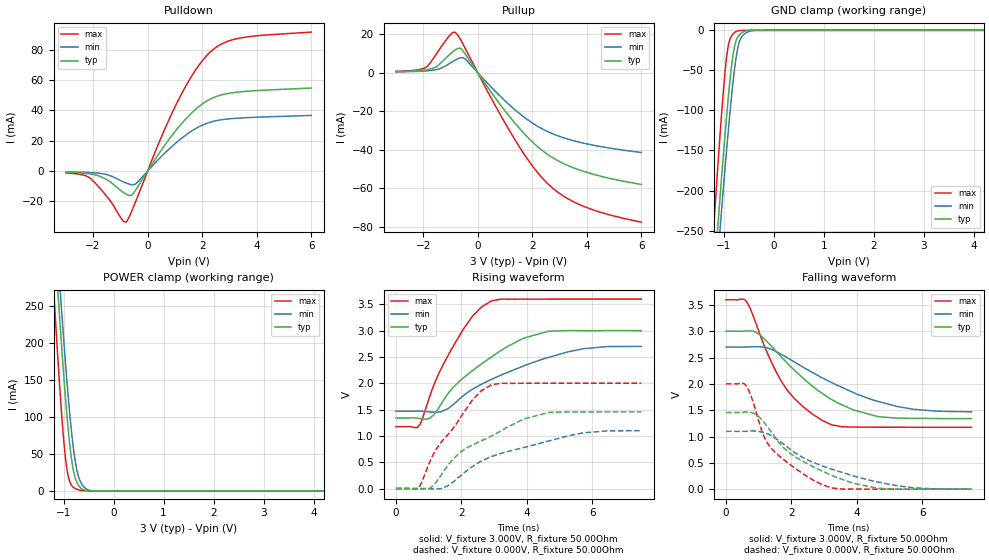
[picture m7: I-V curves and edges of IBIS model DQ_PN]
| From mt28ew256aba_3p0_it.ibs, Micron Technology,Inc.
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|   Model DQ_PN
[Model]   DQ_PN
Model_type   I/O
Vinl = 0.800V
Vinh = 2.100V
Vmeas = 1.500V
Cref = 30.000pF
|   typ   min   max
C_comp   4.086pF   3.586pF   4.586pF
[Voltage Range]   3.000V   2.700V   3.600V
| Junction Temperature (Ambient temp is 35C typ, 85C min, -40C max)
[Temperature Range]   50.0   100.0   -40.0
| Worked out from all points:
|   slope of the pulldown table from 0 to 0.45 V, typ, clamps not added: 36.2 ohm
|   slope of the pullup table from 0 to 0.45 V, typ, clamps not added: 48.8 ohm
|   GND clamp passes 1 mA (typ) near -0.58 V on its own axis
|   POWER clamp passes 1 mA (typ) near -0.57 V on its own axis
|   falling waveform, V_fixture 3.000V, R_fixture 50.00Ohm: 20-80 % time 1.86ns typ, 2.41ns min, 1.26ns max; typ from 3 V to 1.34 V
|   rising waveform, V_fixture 3.000V, R_fixture 50.00Ohm: 20-80 % time 1.88ns typ, 2.49ns min, 1.17ns max; typ from 1.34 V to 3 V
|   rising waveform, V_fixture 0.000V, R_fixture 50.00Ohm: 20-80 % time 1.99ns typ, 2.59ns min, 1.28ns max; typ from 0 V to 1.46 V
|   falling waveform, V_fixture 0.000V, R_fixture 50.00Ohm: 20-80 % time 1.83ns typ, 2.37ns min, 1.25ns max; typ from 1.46 V to 0 V
[Pulldown]
|   Voltage   I(typ)   I(min)   I(max)
-3V       -791.3uA   -502.2uA   -1.183mA
-2.091V   -1.887mA   -981.7uA   -4.866mA
-1.506V   -5.581mA   -2.267mA   -16.42mA
-786mV    -15.18mA   -7.83mA    -33.45mA
-588mV    -15.79mA   -8.932mA   -26.61mA
-399mV    -11.37mA   -7.826mA   -18.29mA
1.041V    26.87mA    18.61mA    43.69mA
1.644V    38.82mA    26.72mA    63.4mA
2.229V    46.78mA    31.84mA    77.22mA
2.724V    50.28mA    33.87mA    83.83mA
3.363V    52.15mA    34.94mA    87.53mA
6V        54.69mA    36.66mA    91.55mA
[GND Clamp]
|   Voltage   I(typ)   I(min)   I(max)
-3V       -1.937A    -1.901A    -2.028A
-1.209V   -320.3mA   -355.6mA   -252.7mA
-1.191V   -305.1mA   -341.1mA   -235.7mA
-1.128V   -252.3mA   -290.6mA   -177.8mA
-1.074V   -207.9mA   -248.1mA   -130mA
-1.002V   -151.1mA   -192.8mA   -71.44mA
-939mV    -104.1mA   -146.3mA   -30.99mA
-831mV    -37.77mA   -74.1mA    -5.774mA
-750mV    -12.38mA   -32.75mA   -1.377mA
-633mV    -2.774mA   -7.272mA   -111.7uA
-408mV    -8.072uA   -216uA     -163.9nA
6V        0A         0A         0A
[Pullup]
|   Voltage   I(typ)   I(min)   I(max)
-3V       560.3uA    414.9uA    682.1uA
-1.902V   1.431mA    920.2uA    2.806mA
-1.506V   3.263mA    1.639mA    9.996mA
-1.02V    9.588mA    4.895mA    19.43mA
-822mV    11.88mA    6.574mA    20.88mA
-624mV    12.46mA    7.752mA    17.03mA
-435mV    9.224mA    6.784mA    11.97mA
1.284V    -24.79mA   -18.21mA   -32.87mA
1.95V     -35.16mA   -25.57mA   -47.29mA
2.517V    -41.92mA   -30.19mA   -56.85mA
3.867V    -51.12mA   -36.51mA   -69.21mA
6V        -57.95mA   -41.38mA   -77.52mA
[POWER Clamp]
|   Voltage   I(typ)   I(min)   I(max)
-3V       2.486A     2.449A     2.578A
-1.191V   351mA      395.5mA    264.9mA
-1.101V   257.3mA    304.1mA    166.2mA
-1.074V   229.7mA    277.8mA    138.2mA
-1.047V   203.7mA    251.5mA    112.2mA
-957mV    122.1mA    169.4mA    41.96mA
-903mV    80.3mA     124.6mA    19.05mA
-849mV    47.49mA    85.62mA    8.692mA
-750mV    14.52mA    34.03mA    2.738mA
-633mV    2.822mA    8.903mA    591.2uA
-426mV    54.76uA    272.1uA    6.273uA
6V        0A         0A         0A
[Ramp]
R_load = 50.00Ohm
|   typ   min   max
dV/dt_r   873.361mV/1.988ns   658.792mV/2.588ns   1.200V/1.282ns
dV/dt_f   995.918mV/1.860ns   738.532mV/2.406ns   1.454V/1.258ns
[Falling Waveform]
V_fixture = 3.000V
V_fixture_min = 2.700V
V_fixture_max = 3.600V
R_fixture = 50.00Ohm
|   Time   V(typ)   V(min)   V(max)
0s        3V         2.7V       3.6V
610ps     3.007V     2.698V     3.576V
1.03ns    2.932V     2.705V     2.951V
1.7ns     2.504V     2.557V     2.038V
2.08ns    2.265V     2.419V     1.727V
2.93ns    1.823V     2.118V     1.308V
3.56ns    1.598V     1.928V     1.184V
4.66ns    1.376V     1.665V     1.177V
5.74ns    1.345V     1.517V     1.176V
7.5ns     1.34V      1.469V     1.176V
[Rising Waveform]
V_fixture = 3.000V
V_fixture_min = 2.700V
V_fixture_max = 3.600V
R_fixture = 50.00Ohm
|   Time   V(typ)   V(min)   V(max)
0s        1.34V      1.469V     1.176V
670ps     1.335V     1.472V     1.167V
1.16ns    1.402V     1.45V      1.967V
1.85ns    1.982V     1.649V     2.81V
2.34ns    2.238V     1.886V     3.274V
2.92ns    2.501V     2.074V     3.564V
3.9ns     2.856V     2.328V     3.599V
4.66ns    2.988V     2.491V     3.599V
5.74ns    2.999V     2.658V     3.599V
7.5ns     3V         2.7V       3.6V
[Rising Waveform]
V_fixture = 0.000V
V_fixture_min = 0.000V
V_fixture_max = 0.000V
R_fixture = 50.00Ohm
|   Time   V(typ)   V(min)   V(max)
0s        2.528uV    7.289uV    97.89uV
670ps     -648.5uV   525.9uV    207.5uV
1.04ns    6.252mV    -4.469mV   511.8mV
1.34ns    219.3mV    -2.923mV   847.6mV
1.96ns    684.1mV    234.3mV    1.338V
2.34ns    826.2mV    417mV      1.684V
2.93ns    1.001V     610.1mV    1.973V
4.66ns    1.444V     901.6mV    2.001V
5.74ns    1.455V     1.059V     2.001V
7.5ns     1.456V     1.098V     2.001V
[Falling Waveform]
V_fixture = 0.000V
V_fixture_min = 0.000V
V_fixture_max = 0.000V
R_fixture = 50.00Ohm
|   Time   V(typ)   V(min)   V(max)
0s        1.456V     1.098V     2.001V
610ps     1.466V     1.098V     1.97V
810ps     1.448V     1.106V     1.684V
1.1ns     1.311V     1.085V     1.091V
1.34ns    1.122V     1.03V      805.1mV
1.95ns    682.4mV    761.7mV    471mV
2.93ns    346mV      444.2mV    87.06mV
4.66ns    15.65mV    133mV      491.5uV
5.74ns    1.162mV    24.71mV    -175.7uV
7.5ns     2.528uV    7.289uV    97.89uV
